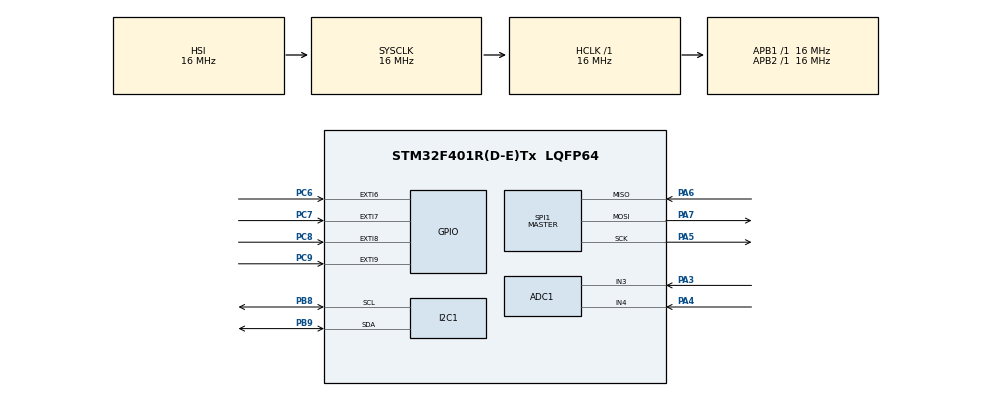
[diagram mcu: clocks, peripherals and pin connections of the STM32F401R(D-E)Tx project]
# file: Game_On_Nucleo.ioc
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ADC1.Channel-1\#ChannelRegularConversion=ADC_CHANNEL_3
ADC1.NbrOfConversionFlag=1
ADC1.Rank-1\#ChannelRegularConversion=1
ADC1.SamplingTime-1\#ChannelRegularConversion=ADC_SAMPLETIME_480CYCLES
ADC1.master=1
Mcu.Family=STM32F4
Mcu.Name=STM32F401R(D-E)Tx
Mcu.Package=LQFP64
NVIC.PriorityGroup=NVIC_PRIORITYGROUP_4
PA3.Signal=ADCx_IN3
PA4.Signal=ADCx_IN4
PA5.Mode=Full_Duplex_Master
PA5.Signal=SPI1_SCK
PA6.Mode=Full_Duplex_Master
PA6.Signal=SPI1_MISO
PA7.Mode=Full_Duplex_Master
PA7.Signal=SPI1_MOSI
PB8.Mode=I2C
PB8.Signal=I2C1_SCL
PB9.Mode=I2C
PB9.Signal=I2C1_SDA
PC6.Signal=GPXTI6
PC7.Signal=GPXTI7
PC8.Signal=GPXTI8
PC9.Signal=GPXTI9
ProjectManager.HeapSize=0x200
ProjectManager.StackSize=0x400
ProjectManager.TargetToolchain=STM32CubeIDE
RCC.AHBFreq_Value=16000000
RCC.APB1Freq_Value=16000000
RCC.APB2Freq_Value=16000000
RCC.CortexFreq_Value=16000000
RCC.HSE_VALUE=25000000
RCC.HSI_VALUE=16000000
RCC.LSE_VALUE=32768
RCC.SYSCLKFreq_VALUE=16000000
RCC.VCOOutputFreq_Value=192000000
SH.ADCx_IN3.0=ADC1_IN3,IN3
SH.ADCx_IN4.0=ADC1_IN4,IN4
SPI1.Direction=SPI_DIRECTION_2LINES
SPI1.Mode=SPI_MODE_MASTER
SPI1.VirtualType=VM_MASTER
board=custom

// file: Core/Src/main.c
/* USER CODE BEGIN Header */
/**
  ******************************************************************************
  * @file           : main.c
  * @brief          : Main program body
  ******************************************************************************
  * @attention
  *
  * Copyright (c) 2025 STMicroelectronics.
  * All rights reserved.
  *
  * This software is licensed under terms that can be found in the LICENSE file
  * in the root directory of this software component.
  * If no LICENSE file comes with this software, it is provided AS-IS.
  *
  ******************************************************************************
  */
/* USER CODE END Header */
#include "main.h"

/* USER CODE BEGIN Includes */

#include <stdio.h>
#include <stdlib.h>
#include "string.h"
#include "mpu6050.h"
#include "ili9341.h"
#include "fonts.h"
#include "stm32f4xx_hal.h"

/* USER CODE END Includes */

/* USER CODE BEGIN PD */

#define CELL_SIZE       16
#define SCREEN_W        ILI9341_WIDTH   // 240
#define SCREEN_H        ILI9341_HEIGHT  // 320
#define COLS            (SCREEN_W / CELL_SIZE)   // 15
#define ROWS            (SCREEN_H / CELL_SIZE)   // 20

#define MOVE_INTERVAL_MS    180

#define ADC_THRESHOLD_LOW   1000
#define ADC_THRESHOLD_HIGH  3500

#define MAX_SNAKE (COLS * ROWS)
#define BG_COLOR    ILI9341_BLACK
#define SNAKE_COLOR ILI9341_GREEN
#define FRUIT_COLOR ILI9341_RED

/* USER CODE END PD */

ADC_HandleTypeDef hadc1;

I2C_HandleTypeDef hi2c1;

SPI_HandleTypeDef hspi1;

/* USER CODE BEGIN PV */

//Struct for coords
typedef struct {
    uint8_t x;
    uint8_t y;
}Point;

static Point snake[MAX_SNAKE];
static int snake_len = 0;

static Point fruit;

typedef enum {DIR_UP=0, DIR_DOWN, DIR_LEFT, DIR_RIGHT}Dir;
static Dir current_dir = DIR_RIGHT;
static Dir desired_dir = DIR_RIGHT;

static uint32_t last_move_tick = 0;
static uint8_t game_over = 0;
static uint8_t button_pressed_flag = 0;
static int score = 0;

//Joystick ADC readings
static uint32_t joyX = 0;
static uint32_t joyY = 0;

/* USER CODE END PV */

void SystemClock_Config(void);
static void MX_GPIO_Init(void);
static void MX_ADC1_Init(void);
static void MX_I2C1_Init(void);
static void MX_SPI1_Init(void);
/* USER CODE BEGIN PFP */

static void ADC_ChannelConfig(uint32_t channel);
static uint32_t ADC_ReadChannel(uint32_t channel);
static void draw_cell_circle(uint8_t col, uint8_t row, uint16_t color);
static void erase_cell(uint8_t col, uint8_t row);
static void draw_fruit(void);
static void place_random_fruit(void);
static int point_on_snake(uint8_t x, uint8_t y);
static void init_game(void);
static void move_snake_step(void);
static void show_game_over(void);
static void restart_game_when_button(void);

/* USER CODE END PFP */

/* USER CODE BEGIN 0 */

uint32_t last_time_btn6 = 0;
uint32_t last_time_btn7 = 0;
uint32_t last_time_btn8 = 0;
uint32_t last_time_btn9 = 0;

//Buttons on Interrupt
void HAL_GPIO_EXTI_Callback(uint16_t GPIO_Pin){
    uint32_t now = HAL_GetTick();

    switch(GPIO_Pin){
        case GPIO_PIN_6:
            if((now - last_time_btn6) > 150){
                if(current_dir != DIR_DOWN) desired_dir = DIR_UP;
                last_time_btn6 = now;
                button_pressed_flag = 1;
            }
            break;

        case GPIO_PIN_7:
            if((now - last_time_btn7) > 150){
                if(current_dir != DIR_UP) desired_dir = DIR_DOWN;
                last_time_btn7 = now;
                button_pressed_flag = 1;
            }
            break;

        case GPIO_PIN_8:
            if((now - last_time_btn8) > 150){
                if(current_dir != DIR_RIGHT) desired_dir = DIR_LEFT;
                last_time_btn8 = now;
                button_pressed_flag = 1;
            }
            break;

        case GPIO_PIN_9:
            if((now - last_time_btn9) > 150){
                if(current_dir != DIR_LEFT) desired_dir = DIR_RIGHT;
                last_time_btn9 = now;
                button_pressed_flag = 1;
            }
            break;
    }
}

static void ADC_ChannelConfig(uint32_t channel){
    ADC_ChannelConfTypeDef sConfig = {0};
    sConfig.Channel = channel;
    sConfig.Rank = 1;
    sConfig.SamplingTime = ADC_SAMPLETIME_480CYCLES;
    HAL_ADC_ConfigChannel(&hadc1, &sConfig);
}

static uint32_t ADC_ReadChannel(uint32_t channel){
    uint32_t val = 0;
    ADC_ChannelConfig(channel);
    HAL_ADC_Start(&hadc1);
    if(HAL_ADC_PollForConversion(&hadc1, 10) == HAL_OK){
        val = HAL_ADC_GetValue(&hadc1);
    }
    HAL_ADC_Stop(&hadc1);
    return val;
}

//For snake body
static void draw_cell_circle(uint8_t col, uint8_t row, uint16_t color){
    uint16_t cx = col * CELL_SIZE + (CELL_SIZE/2);
    uint16_t cy = row * CELL_SIZE + (CELL_SIZE/2);
    uint16_t r  = (CELL_SIZE/2) - 2; // radius slightly smaller than half cell
    ILI9341_FillCircle(cx, cy, r, color);
}

//For snake movement and game over
static void erase_cell(uint8_t col, uint8_t row){
    uint16_t x = col * CELL_SIZE;
    uint16_t y = row * CELL_SIZE;
    ILI9341_FillRectangle(x, y, CELL_SIZE, CELL_SIZE, BG_COLOR);
}

static void draw_fruit(void){
    uint16_t x = fruit.x * CELL_SIZE;
    uint16_t y = fruit.y * CELL_SIZE;
    ILI9341_FillRectangle(x, y, CELL_SIZE, CELL_SIZE, FRUIT_COLOR);
}

/* Return 1 if (x,y) is on current snake */
static int point_on_snake(uint8_t x, uint8_t y){
    for(int i=0;i<snake_len;i++){
        if(snake[i].x == x && snake[i].y == y) return 1;
    }
    return 0;
}

//Random fruit location
static void place_random_fruit(void){
    if(snake_len >= MAX_SNAKE){
        //grid full
        return;
    }

    uint32_t tries = 0;
    while(1){
        uint8_t rx = rand() % COLS;
        uint8_t ry = rand() % ROWS;
        if(!point_on_snake(rx, ry)){
            fruit.x = rx;
            fruit.y = ry;
            draw_fruit();
            return;
        }
        tries++;
        if(tries > 10000) break;
    }
}

//Initialise Game state and draw background
static void init_game(void){
    ILI9341_FillScreen(BG_COLOR);

    // seed PRNG (use HAL_GetTick, not time())
    srand((unsigned int)HAL_GetTick());

    // start with small snake in center
    snake_len = 3;
    int center_col = COLS/2;
    int center_row = ROWS/2;
    for(int i=0;i<snake_len;i++){
        snake[i].x = center_col - (snake_len-1) + i;
        snake[i].y = center_row;
    }
    current_dir = DIR_RIGHT;
    desired_dir = DIR_RIGHT;
    game_over = 0;
    score = 0;

    for(int i=0;i<snake_len;i++){
        draw_cell_circle(snake[i].x, snake[i].y, SNAKE_COLOR);
    }

    //First fruit
    place_random_fruit();

    last_move_tick = HAL_GetTick();
}

//Snake movement (direction based)
static void move_snake_step(void){
    if(game_over) return;

    // update direction if not opposite
    if(!((current_dir == DIR_LEFT && desired_dir == DIR_RIGHT) ||
         (current_dir == DIR_RIGHT && desired_dir == DIR_LEFT) ||
         (current_dir == DIR_UP && desired_dir == DIR_DOWN) ||
         (current_dir == DIR_DOWN && desired_dir == DIR_UP))){
        current_dir = desired_dir;
    }

    // compute new head
    Point new_head = snake[snake_len - 1]; // current head
    switch(current_dir){
        case DIR_UP:
            if(new_head.y == 0) { game_over = 1; return; }
            new_head.y -= 1;
            break;
        case DIR_DOWN:
            if(new_head.y >= ROWS-1) { game_over = 1; return; }
            new_head.y += 1;
            break;
        case DIR_LEFT:
            if(new_head.x == 0) { game_over = 1; return; }
            new_head.x -= 1;
            break;
        case DIR_RIGHT:
            if(new_head.x >= COLS-1) { game_over = 1; return; }
            new_head.x += 1;
            break;
    }

    //Self-collision
    if(point_on_snake(new_head.x, new_head.y)){
        game_over = 1;
        return;
    }

    int ate = (new_head.x == fruit.x && new_head.y == fruit.y);

    if(ate){

    	score++;

        if(snake_len < MAX_SNAKE){
            snake[snake_len++] = new_head;
            draw_cell_circle(new_head.x, new_head.y, SNAKE_COLOR);
        }
        place_random_fruit();
    }
    else{
        erase_cell(snake[0].x, snake[0].y);
        for(int i=0;i<snake_len-1;i++){
            snake[i] = snake[i+1];
        }
        snake[snake_len-1] = new_head;
        draw_cell_circle(new_head.x, new_head.y, SNAKE_COLOR);
    }
}

//Game-Over
static void show_game_over(void){
    ILI9341_FillRectangle(10, (SCREEN_H/2)-28, SCREEN_W-20, 72, ILI9341_BLACK);
    ILI9341_WriteString(20, (SCREEN_H/2)-18, "GAME OVER", Font_11x18, ILI9341_WHITE, ILI9341_BLACK);

    char buf[32];
    sprintf(buf, "Score: %d", score);
    ILI9341_WriteString(20, (SCREEN_H/2)+6, buf, Font_11x18, ILI9341_WHITE, ILI9341_BLACK);

    ILI9341_WriteString(20, (SCREEN_H/2)+30, "Press any button", Font_7x10, ILI9341_WHITE, ILI9341_BLACK);
}

//Restart when any button is pressed
static void restart_game_when_button(void){
    button_pressed_flag = 0;
    while(!button_pressed_flag){
        HAL_Delay(10);
    }
    // small debounce
    HAL_Delay(100);
    init_game();
}

/* USER CODE END 0 */

int main(void)
{

  /* MCU Configuration--------------------------------------------------------*/

  /* Reset of all peripherals, Initializes the Flash interface and the Systick. */
  HAL_Init();

  /* Configure the system clock */
  SystemClock_Config();

  /* Initialize all configured peripherals */
  MX_GPIO_Init();
  MX_ADC1_Init();
  MX_I2C1_Init();
  MX_SPI1_Init();
  /* USER CODE BEGIN 2 */
  ILI9341_Init();
  MPU6050_Init();
  init_game();
  /* USER CODE END 2 */

  /* Infinite loop */
  while (1)
  {
	    uint32_t now = HAL_GetTick();

	    //Periodic Movement
	    if((now - last_move_tick) >= MOVE_INTERVAL_MS){
	        last_move_tick = now;
	        move_snake_step();
	        if(game_over){
	            show_game_over();
	            restart_game_when_button();
	        }
	    }

	    joyX = ADC_ReadChannel(ADC_CHANNEL_3);
	    joyY = ADC_ReadChannel(ADC_CHANNEL_4);

	    if(joyX < ADC_THRESHOLD_LOW){
	        if(current_dir != DIR_RIGHT) desired_dir = DIR_LEFT;
	    }
	    else if(joyX > ADC_THRESHOLD_HIGH){
	        if(current_dir != DIR_LEFT) desired_dir = DIR_RIGHT;
	    }
	    if(joyY < ADC_THRESHOLD_LOW){
	        if(current_dir != DIR_DOWN) desired_dir = DIR_UP;
	    }
	    else if(joyY > ADC_THRESHOLD_HIGH){
	        if(current_dir != DIR_UP) desired_dir = DIR_DOWN;
	    }

	    HAL_Delay(5);

  }
}

void SystemClock_Config(void)
{
  RCC_OscInitTypeDef RCC_OscInitStruct = {0};
  RCC_ClkInitTypeDef RCC_ClkInitStruct = {0};

  /** Configure the main internal regulator output voltage
  */
  __HAL_RCC_PWR_CLK_ENABLE();
  __HAL_PWR_VOLTAGESCALING_CONFIG(PWR_REGULATOR_VOLTAGE_SCALE2);

  /** Initializes the RCC Oscillators according to the specified parameters
  * in the RCC_OscInitTypeDef structure.
  */
  RCC_OscInitStruct.OscillatorType = RCC_OSCILLATORTYPE_HSI;
  RCC_OscInitStruct.HSIState = RCC_HSI_ON;
  RCC_OscInitStruct.HSICalibrationValue = RCC_HSICALIBRATION_DEFAULT;
  RCC_OscInitStruct.PLL.PLLState = RCC_PLL_NONE;
  if (HAL_RCC_OscConfig(&RCC_OscInitStruct) != HAL_OK)
  {
    Error_Handler();
  }

  /** Initializes the CPU, AHB and APB buses clocks
  */
  RCC_ClkInitStruct.ClockType = RCC_CLOCKTYPE_HCLK|RCC_CLOCKTYPE_SYSCLK
                              |RCC_CLOCKTYPE_PCLK1|RCC_CLOCKTYPE_PCLK2;
  RCC_ClkInitStruct.SYSCLKSource = RCC_SYSCLKSOURCE_HSI;
  RCC_ClkInitStruct.AHBCLKDivider = RCC_SYSCLK_DIV1;
  RCC_ClkInitStruct.APB1CLKDivider = RCC_HCLK_DIV1;
  RCC_ClkInitStruct.APB2CLKDivider = RCC_HCLK_DIV1;

  if (HAL_RCC_ClockConfig(&RCC_ClkInitStruct, FLASH_LATENCY_0) != HAL_OK)
  {
    Error_Handler();
  }
}

static void MX_ADC1_Init(void)
{

  ADC_ChannelConfTypeDef sConfig = {0};

  /** Configure the global features of the ADC (Clock, Resolution, Data Alignment and number of conversion)
  */
  hadc1.Instance = ADC1;
  hadc1.Init.ClockPrescaler = ADC_CLOCK_SYNC_PCLK_DIV2;
  hadc1.Init.Resolution = ADC_RESOLUTION_12B;
  hadc1.Init.ScanConvMode = DISABLE;
  hadc1.Init.ContinuousConvMode = DISABLE;
  hadc1.Init.DiscontinuousConvMode = DISABLE;
  hadc1.Init.ExternalTrigConvEdge = ADC_EXTERNALTRIGCONVEDGE_NONE;
  hadc1.Init.ExternalTrigConv = ADC_SOFTWARE_START;
  hadc1.Init.DataAlign = ADC_DATAALIGN_RIGHT;
  hadc1.Init.NbrOfConversion = 1;
  hadc1.Init.DMAContinuousRequests = DISABLE;
  hadc1.Init.EOCSelection = ADC_EOC_SINGLE_CONV;
  if (HAL_ADC_Init(&hadc1) != HAL_OK)
  {
    Error_Handler();
  }

  /** Configure for the selected ADC regular channel its corresponding rank in the sequencer and its sample time.
  */
  sConfig.Channel = ADC_CHANNEL_3;
  sConfig.Rank = 1;
  sConfig.SamplingTime = ADC_SAMPLETIME_480CYCLES;
  if (HAL_ADC_ConfigChannel(&hadc1, &sConfig) != HAL_OK)
  {
    Error_Handler();
  }

}

static void MX_I2C1_Init(void)
{

  hi2c1.Instance = I2C1;
  hi2c1.Init.ClockSpeed = 100000;
  hi2c1.Init.DutyCycle = I2C_DUTYCYCLE_2;
  hi2c1.Init.OwnAddress1 = 0;
  hi2c1.Init.AddressingMode = I2C_ADDRESSINGMODE_7BIT;
  hi2c1.Init.DualAddressMode = I2C_DUALADDRESS_DISABLE;
  hi2c1.Init.OwnAddress2 = 0;
  hi2c1.Init.GeneralCallMode = I2C_GENERALCALL_DISABLE;
  hi2c1.Init.NoStretchMode = I2C_NOSTRETCH_DISABLE;
  if (HAL_I2C_Init(&hi2c1) != HAL_OK)
  {
    Error_Handler();
  }

}

static void MX_SPI1_Init(void)
{

  /* SPI1 parameter configuration*/
  hspi1.Instance = SPI1;
  hspi1.Init.Mode = SPI_MODE_MASTER;
  hspi1.Init.Direction = SPI_DIRECTION_2LINES;
  hspi1.Init.DataSize = SPI_DATASIZE_8BIT;
  hspi1.Init.CLKPolarity = SPI_POLARITY_LOW;
  hspi1.Init.CLKPhase = SPI_PHASE_1EDGE;
  hspi1.Init.NSS = SPI_NSS_SOFT;
  hspi1.Init.BaudRatePrescaler = SPI_BAUDRATEPRESCALER_2;
  hspi1.Init.FirstBit = SPI_FIRSTBIT_MSB;
  hspi1.Init.TIMode = SPI_TIMODE_DISABLE;
  hspi1.Init.CRCCalculation = SPI_CRCCALCULATION_DISABLE;
  hspi1.Init.CRCPolynomial = 10;
  if (HAL_SPI_Init(&hspi1) != HAL_OK)
  {
    Error_Handler();
  }

}

static void MX_GPIO_Init(void)
{
  GPIO_InitTypeDef GPIO_InitStruct = {0};

  /* GPIO Ports Clock Enable */
  __HAL_RCC_GPIOA_CLK_ENABLE();
  __HAL_RCC_GPIOC_CLK_ENABLE();
  __HAL_RCC_GPIOB_CLK_ENABLE();

  /*Configure GPIO pins : PC6 PC7 PC8 PC9 */
  GPIO_InitStruct.Pin = GPIO_PIN_6|GPIO_PIN_7|GPIO_PIN_8|GPIO_PIN_9;
  GPIO_InitStruct.Mode = GPIO_MODE_IT_RISING;
  GPIO_InitStruct.Pull = GPIO_NOPULL;
  HAL_GPIO_Init(GPIOC, &GPIO_InitStruct);

  /* USER CODE BEGIN MX_GPIO_Init_2 */
  HAL_NVIC_SetPriority(EXTI9_5_IRQn, 2, 0);
  HAL_NVIC_EnableIRQ(EXTI9_5_IRQn);
  /* USER CODE END MX_GPIO_Init_2 */
}

void Error_Handler(void)
{
  __disable_irq();
  while (1)
  {
  }
}
